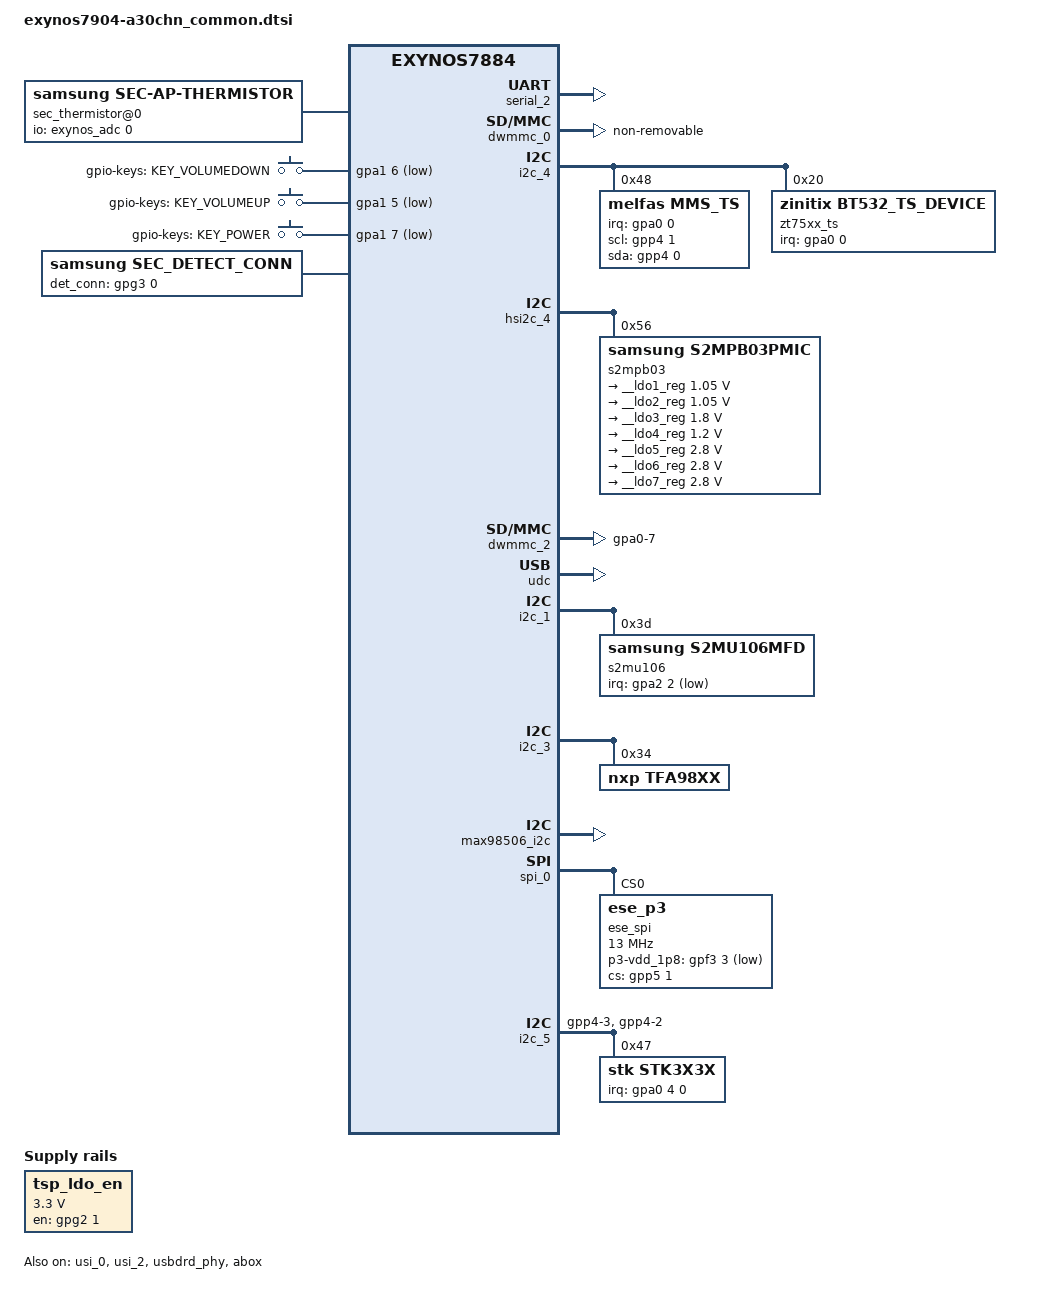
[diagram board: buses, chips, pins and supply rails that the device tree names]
/*
 * SAMSUNG UNIVERSAL7904 board device tree source
 *
 * Copyright (c) 2013 Samsung Electronics Co., Ltd.
 *		http://www.samsung.com
 *
 * This program is free software; you can redistribute it and/or modify
 * it under the terms of the GNU General Public License version 2 as
 * published by the Free Software Foundation.
*/

#include "exynos7884-rmem_7884.dtsi"
#include "display-lcd_a30c_common.dtsi"
#include "modem-s327ap-sipc-pdata.dtsi"
#include "modem-s327ap-sipc-highmem.dtsi"
#include "battery_data_a30chn_common.dtsi"
#include "exynos7885-ecd.dtsi"
#include "exynos7904-a30chn_motor.dtsi"
#include "exynos7904-a30chn_camera.dtsi"
#include <dt-bindings/clock/exynos7885.h>
#include "exynos7904-mali.dtsi"
/ {
	board_id = <0x0>;
	board_rev = <0x0>;

	fragment@model {
		target-path = "/";
		__overlay__ {
			#address-cells = <2>;
			#size-cells = <1>;

			fixed-rate-clocks {
				oscclk {
					compatible = "samsung,exynos7885-oscclk";
					clock-frequency = <26000000>;
				};
			};

			firmware {
				android {
					compatible = "android,firmware";
					vbmeta {
						compatible = "android,vbmeta";
						parts = "vbmeta,boot,recovery,system,vendor,product,dtb,dtbo";
					};
					fstab {
						compatible = "android,fstab";
						vendor {
							compatible = "android,vendor";
							dev = "/dev/block/platform/13500000.dwmmc0/by-name/vendor";
							type = "ext4";
							mnt_flags = "ro";
							fsmgr_flags = "wait,verify,avb";
						};
						product {
							compatible = "android,product";
							dev = "/dev/block/platform/13500000.dwmmc0/by-name/product";
							type = "ext4";
							mnt_flags = "ro";
							fsmgr_flags = "wait,verify,avb";
						};
					};
				};
			};

			but_zones: but_zones {
				#list-but-cells = <3>;
			};

			secgpio_dvs {
				compatible = "samsung,exynos7885-secgpio-dvs";
				status = "okay";
			};

			speedy@11CE0000 {
				#address-cells = <1>;
				#size-cells = <0>;
				status = "okay";
				audio_codec_cod3035x: cod3035x@03 {
					compatible = "codec,cod3035x";
					#sound-dai-cells = <1>;
					reg = <0x03>;
					i2c-speedy-address;
					vdd-supply = <&l36_reg>;
					pinctrl-names = "default";
					mic-bias1-voltage = <1>;
					mic-bias2-voltage = <1>;
					mic-bias-ldo-voltage = <3>;
					use-lassenA;
					use-btn-adc-mode;
					use-det-gdet-adc-mode = <1>;
					jackin-dbnc-time = <0xC0>;
					jackout-dbnc-time = <0x02>;
					jack-imp-tuning = <9>;
					io-channels = <&exynos_adc 3>,<&exynos_adc 7>;
					io-channel-names = "adc-ear","adc-gdet";
					#io-channel-cells = <1>;
					rcv-drv-current = <1>;
					io-channel-ranges;
					but-zones-list = <&but_zones 226 0 376>, /* send/end */
						<&but_zones 582 377 447>, /* google */
						<&but_zones 115 448 627>, /* vol up */
						<&but_zones 114 628 1161>; /* vol down */
					mic-adc-range = <1404>;
					btn-release-value = <1404>;
					use-feature-flag = <0x02>;
					jackin-ldet-vth = <0>;
				};

				s2mpu08mfd@00 {
					compatible = "samsung,s2mpu08mfd";
					acpm-ipc-channel = <2>;
					i2c-speedy-address;
					s2mpu08,wakeup = "enabled";
					s2mpu08,irq-gpio = <&gpa2 0 0>;
					reg = <0x00>;
					interrupts = <2 0 0>;
					interrupt-parent = <&gpa2>;
					pinctrl-names = "default";
					pinctrl-0 = <&pmic_irq &pm_wrsti>;
					/* RTC: wtsr/smpl */
					wtsr_en = "enabled"; /* enable */
					smpl_en = "enabled"; /* enable */
					wtsr_timer_val = <3>;	/* 1000ms */
					smpl_timer_val = <0>;	/* 100ms */
					check_jigon = <0>; /* do not check jigon */
					/* RTC: If it's first boot, reset rtc to 1/1/2019 12:00:00(Tue) */
					init_time,sec = <0>;
					init_time,min = <0>;
					init_time,hour = <12>;
					init_time,mday = <1>;
					init_time,mon = <0>;
					init_time,year = <119>;
					init_time,wday = <2>;

					samsung,codec-interrupt = <&audio_codec_cod3035x>;

					regulators {
						b1_reg: BUCK1 {
							regulator-name = "vdd_mif";
							regulator-min-microvolt = <500000>;
							regulator-max-microvolt = <1100000>;
							regulator-always-on;
							regulator-ramp-delay = <12000>;
							regulator-initial-mode = <2>;
						};

						b2_reg: BUCK2 {
							regulator-name = "vdd_cpucl0";
							regulator-min-microvolt = <500000>;
							regulator-max-microvolt = <1300000>;
							regulator-always-on;
							regulator-ramp-delay = <12000>;
							regulator-initial-mode = <1>;
						};

						b3_reg: BUCK3 {
							regulator-name = "vdd_cpucl1_2";
							regulator-min-microvolt = <500000>;
							regulator-max-microvolt = <1300000>;
							regulator-always-on;
							regulator-ramp-delay = <12000>;
							regulator-initial-mode = <1>;
						};

						b4_reg: BUCK4 {
							regulator-name = "vdd_int";
							regulator-min-microvolt = <500000>;
							regulator-max-microvolt = <1200000>;
							regulator-always-on;
							regulator-ramp-delay = <12000>;
							regulator-initial-mode = <2>;
						};

						b5_reg: BUCK5 {
							regulator-name = "vdd_g3d";
							regulator-min-microvolt = <500000>;
							regulator-max-microvolt = <1300000>;
							regulator-always-on;
							regulator-ramp-delay = <12000>;
							regulator-initial-mode = <1>;
						};

						b6_reg: BUCK6 {
							regulator-name = "vdd2_mem";
							regulator-min-microvolt = <500000>;
							regulator-max-microvolt = <1300000>;
							regulator-always-on;
							regulator-ramp-delay = <12000>;
							regulator-initial-mode = <3>;
						};

						b7_reg: BUCK7 {
							regulator-name = "vdd_lldo";
							regulator-min-microvolt = <1200000>;
							regulator-max-microvolt = <1500000>;
							regulator-always-on;
							regulator-ramp-delay = <12000>;
							regulator-initial-mode = <3>;
						};

						b8_reg: BUCK8 {
							regulator-name = "vdd_mldo";
							regulator-min-microvolt = <1800000>;
							regulator-max-microvolt = <2100000>;
							regulator-always-on;
							regulator-ramp-delay = <12000>;
							regulator-initial-mode = <3>;
						};

						l1_reg: LDO1 {
							regulator-name = "vdd_ldo1";
							regulator-min-microvolt = <700000>;
							regulator-max-microvolt = <1300000>;
							regulator-always-on;
							regulator-ramp-delay = <12000>;
							regulator-initial-mode = <3>;
						};

						l2_reg: LDO2 {
							regulator-name = "vqmmc";
							regulator-min-microvolt = <1800000>;
							regulator-max-microvolt = <3375000>;
							regulator-ramp-delay = <12000>;
						};

						l3_reg: LDO3 {
							regulator-name = "vdd_ldo3";
							regulator-min-microvolt = <800000>;
							regulator-max-microvolt = <1950000>;
							regulator-always-on;
							regulator-ramp-delay = <12000>;
							regulator-initial-mode = <3>;
						};

						l4_reg: LDO4 {
							regulator-name = "vdd_ldo4";
							regulator-min-microvolt = <500000>;
							regulator-max-microvolt = <1300000>;
							regulator-always-on;
							regulator-ramp-delay = <12000>;
							regulator-initial-mode = <1>;
						};

						l5_reg: LDO5 {
							regulator-name = "vdd_ldo5";
							regulator-min-microvolt = <800000>;
							regulator-max-microvolt = <1350000>;
							regulator-always-on;
							regulator-ramp-delay = <12000>;
							regulator-initial-mode = <1>;
						};

						l6_reg: LDO6 {
							regulator-name = "vdd_ldo6";
							regulator-min-microvolt = <800000>;
							regulator-max-microvolt = <1350000>;
							regulator-always-on;
							regulator-ramp-delay = <12000>;
							regulator-initial-mode = <1>;
						};

						l7_reg: LDO7 {
							regulator-name = "vdd_ldo7";
							regulator-min-microvolt = <800000>;
							regulator-max-microvolt = <1950000>;
							regulator-always-on;
							regulator-ramp-delay = <12000>;
							regulator-initial-mode = <1>;
						};

						l8_reg: LDO8 {
							regulator-name = "vdd_ldo8";
							regulator-min-microvolt = <500000>;
							regulator-max-microvolt = <1300000>;
							regulator-always-on;
							regulator-ramp-delay = <12000>;
							regulator-initial-mode = <1>;
						};

						l9_reg: LDO9 {
							regulator-name = "vdd_ldo9";
							regulator-min-microvolt = <500000>;
							regulator-max-microvolt = <1300000>;
							regulator-always-on;
							regulator-ramp-delay = <12000>;
							regulator-initial-mode = <1>;
						};

						l10_reg: LDO10 {
							regulator-name = "vdd_ldo10";
							regulator-min-microvolt = <500000>;
							regulator-max-microvolt = <1300000>;
							regulator-always-on;
							regulator-ramp-delay = <12000>;
							regulator-initial-mode = <1>;
						};

						l11_reg: LDO11 {
							regulator-name = "vdd_ldo11";
							regulator-min-microvolt = <500000>;
							regulator-max-microvolt = <1300000>;
							regulator-always-on;
							regulator-ramp-delay = <12000>;
							regulator-initial-mode = <1>;
						};

						l12_reg: LDO12 {
							regulator-name = "vdd_ldo12";
							regulator-min-microvolt = <800000>;
							regulator-max-microvolt = <1350000>;
							regulator-always-on;
							regulator-ramp-delay = <12000>;
							regulator-initial-mode = <1>;
						};

						l13_reg: LDO13 {
							regulator-name = "vdd_ldo13";
							regulator-min-microvolt = <800000>;
							regulator-max-microvolt = <1950000>;
							regulator-always-on;
							regulator-ramp-delay = <12000>;
							regulator-initial-mode = <1>;
						};

						l14_reg: LDO14 {
							regulator-name = "vdd_ldo14";
							regulator-min-microvolt = <1800000>;
							regulator-max-microvolt = <3375000>;
							regulator-always-on;
							regulator-ramp-delay = <12000>;
							regulator-initial-mode = <1>;
						};

						l33_reg: LDO33 {
							regulator-name = "vdd_ldo33";
							regulator-min-microvolt = <800000>;
							regulator-max-microvolt = <1950000>;
							regulator-always-on;
							regulator-ramp-delay = <12000>;
							regulator-initial-mode = <3>;
						};

						l34_reg: LDO34 {
							regulator-name = "vdd_ldo34";
							regulator-min-microvolt = <1800000>;
							regulator-max-microvolt = <3375000>;
							regulator-always-on;
							regulator-ramp-delay = <12000>;
							regulator-initial-mode = <3>;
						};

						l35_reg: LDO35 {
							regulator-name = "vmmc";
							regulator-min-microvolt = <1800000>;
							regulator-max-microvolt = <3375000>;
							regulator-ramp-delay = <12000>;
						};

						l36_reg: LDO36 {
							regulator-name = "vdd_ldo36";
							regulator-min-microvolt = <800000>;
							regulator-max-microvolt = <1950000>;
							regulator-always-on;
							regulator-ramp-delay = <12000>;
							regulator-initial-mode = <3>;
						};

						l37_reg: LDO37 {
							regulator-name = "vdd_ldo37";
							regulator-min-microvolt = <1800000>;
							regulator-max-microvolt = <3375000>;
							regulator-always-on;
							regulator-ramp-delay = <12000>;
							regulator-initial-mode = <3>;
						};
					};
				};
			};
			sec_thermistor@0 {
				compatible = "samsung,sec-ap-thermistor";
				status = "okay";

				adc_array = <275 324 380 450 528 619 729 856 1003 1161
					1345 1545 1766 1980 2222 2457 2685 2901 3102 3279
					3426 3551 3659>;
				temp_array = <900 850 800 750 700 650 600 550 500 450
					400 350 300 250 200 150 100 50 0 (-50)
					(-100) (-150) (-200)>;

				io-channels = <&exynos_adc 0>;
				io-channel-names = "adc-ap-temp";
				io-channel-ranges;
			};

			exynos_rgt {
				compatible = "samsung,exynos-rgt";
			};

			tsp_ldo_en: tsp-ldo-en {
				compatible = "regulator-fixed";
				regulator-name = "tsp_ldo_en";
				regulator-min-microvolt = <3300000>;
				regulator-max-microvolt = <3300000>;
				gpio = <&gpg2 1 0>;
				enable-active-high;
				regulator-boot-on;
			};

			gpio_keys {
				status = "okay";
				compatible = "gpio-keys";
				#address-cells = <1>;
				#size-cells = <0>;
				pinctrl-names = "default";
				pinctrl-0 = <&key_voldown &key_volup &key_power>;
				button@1 {
					label = "gpio-keys: KEY_VOLUMEDOWN";
					interrupts = <6 0 0>;
					interrupt-parent = <&gpa1>;
					linux,code = <114>;
					gpios = <&gpa1 6 0xf>;
				};
				button@2 {
					label = "gpio-keys: KEY_VOLUMEUP";
					interrupts = <5 0 0>;
					interrupt-parent = <&gpa1>;
					linux,code = <115>;
					gpios = <&gpa1 5 0xf>;
				};
				button@3 {
					label = "gpio-keys: KEY_POWER";
					interrupts = <7 0 0>;
					interrupt-parent = <&gpa1>;
					linux,code = <116>;
					gpios = <&gpa1 7 0xf>;
					gpio-key,wakeup = <1>;
				};

			};

			usb_hs_tune:hs_tune {
				hs_tune_cnt = <12>;

				/* value = <device host> */
				hs_tune1 {
					tune_name = "tx_vref";
					tune_value = <0xd 0xa>;
				};

				hs_tune2 {
					tune_name = "tx_pre_emp";
					tune_value = <0x3 0x3>;
				};

				hs_tune3 {
					tune_name = "tx_pre_emp_plus";
					tune_value = <0x0 0x0>;
				};

				hs_tune4 {
					tune_name = "tx_res";
					tune_value = <0x3 0x3>;
				};

				hs_tune5 {
					tune_name = "tx_rise";
					tune_value = <0x3 0x3>;
				};

				hs_tune6 {
					tune_name = "tx_hsxv";
					tune_value = <0x3 0x3>;
				};

				hs_tune7 {
					tune_name = "tx_fsls";
					tune_value = <0x3 0x3>;
				};

				hs_tune8 {
					tune_name = "rx_sqrx";
					tune_value = <0x7 0x7>;
				};

				hs_tune9 {
					tune_name = "compdis";
					tune_value = <0x7 0x7>;
				};

				hs_tune10 {
					tune_name = "otg";
					tune_value = <0x2 0x2>;
				};

				hs_tune11 {
				/* true : 1, false: 0 */
				/* <enable_user_imp user_imp_value> */
					tune_name = "enable_user_imp";
					tune_value = <0x0 0x0>;
				};

				hs_tune12 {
				/* PHY clk : 1 , FREE clk : 0 */
					tune_name = "is_phyclock";
					tune_value = <0x1 0x1>;
				};
			};

			mailbox_cp: mcu_ipc@12080000 {
				compatible = "samsung,exynos-shd-ipc-mailbox";
				reg = <0x0 0x12080000 0x180>;
				mcu,name = "mcu_ipc_cp";
				mcu,id = <0>;
				interrupts = <0 55 0 >; /* MAILBOX_CP_TO_AP SPI Number */
				mcu,irq_affinity_mask = <3>;
			};

			/* USIM DETECTION FOR CP */
			usim_det {
				pinctrl-names = "default";
				pinctrl-0 = <&sim0_det_gpio>;

				mif,num_of_usim_det = <1>;
				mif,usim-det0-gpio = <&gpa2 6 0>;
			};

			mailbox_gnss: mcu_ipc@120D0000 {
				compatible = "samsung,exynos-shd-ipc-mailbox";
				reg = <0x0 0x120D0000 180>;
				mcu,name = "mcu_ipc_gnss";
				mcu,id = <1>;
				interrupts = <0 56 0>;
			};

			gnss_pdata {
				status = "okay";

				compatible = "samsung,gnss_shdmem_if";
				shmem,name = "KEPLER";
				shmem,device_node_name = "gnss_ipc";

				/* ACTIVE WATCHDOG WAKEUP */
				interrupts = <0 20 0>,
					     <0 165 0>,
					     <0 164 0>;
				interrupt-names = "ACTIVE", "WATCHDOG", "WAKEUP";

				memory-region = <&gnss_reserved>;
				mbox_info = <&mailbox_gnss>;

				mbx,int_ap2gnss_bcmd = <0>;
				mbx,int_ap2gnss_req_fault_info = <1>;
				mbx,int_ap2gnss_ipc_msg = <2>;
				mbx,int_ap2gnss_ack_wake_set = <3>;
				mbx,int_ap2gnss_ack_wake_clr = <4>;

				mbx,irq_gnss2ap_bcmd = <0>;
				mbx,irq_gnss2ap_rsp_fault_info = <1>;
				mbx,irq_gnss2ap_ipc_msg = <2>;
				mbx,irq_gnss2ap_req_wake_clr = <4>;

				mbx,reg_bcmd_ctrl = <0>, <1>, <2>, <3>;

				reg_rx_ipc_msg = <1 5>;
				reg_tx_ipc_msg = <1 4>;
				reg_rx_head = <1 3>;
				reg_rx_tail = <1 2>;
				reg_tx_head = <1 1>;
				reg_tx_tail = <1 0>;
				fault_info = <1 0x200000 0x180000>;

				shmem,ipc_offset = <0x380000>;
				shmem,ipc_size = <0x80000>;
				shmem,ipc_reg_cnt = <32>;

				/* Use the following value when can't boot with mailbox */
				shmem,boot_without_mbox = <1>; /* Default : 0 */
			};

			usb_notifier {
				compatible = "samsung,usb-notifier";
				udc = <&udc>;
			};

			dummy_audio_codec: audio_codec_dummy {
				status = "okay";
				compatible = "snd-soc-dummy";
				#sound-dai-cells = <1>;
			};

			sound {
				status = "okay";
				compatible = "samsung,exynos7885-cod3035";
				mic-bias-mode = <1 1 2 0>;
				clock-names = "xclkout";
				samsung,codec = <&abox>;

				samsung,routing =  "VOUTPUT", "ABOX UAIF0 Playback",
						 "VOUTPUTCALL", "ABOX UAIF2 Playback",
						 "ABOX UAIF2 Capture", "VINPUTCALL",
						 "ABOX SPEEDY Capture", "VINPUTFM",
						 // "SPK", "ABOX UAIF3 Playback",
						 // "ABOX UAIF3 Capture", "VI";
						 "SPK", "AIF Playback-b-34",
						 "AIF Playback-b-34", "ABOX UAIF3 Playback",
						 "ABOX UAIF3 Capture", "AIF Capture-b-34";


				rdma@0 {
					cpu {
						sound-dai = <&abox 0>;
					};
					codec {
						sound-dai = <&dummy_audio_codec>;
					};
				};
				rdma@1 {
					cpu {
						sound-dai = <&abox 1>;
					};
					codec {
						sound-dai = <&dummy_audio_codec>;
					};
				};
				rdma@2 {
					cpu {
						sound-dai = <&abox 2>;
					};
					codec {
						sound-dai = <&dummy_audio_codec>;
					};
				};
				rdma@3 {
					cpu {
						sound-dai = <&abox 3>;
					};
					codec {
						sound-dai = <&dummy_audio_codec>;
					};
				};
				rdma@4 {
					cpu {
						sound-dai = <&abox 4>;
					};
					codec {
						sound-dai = <&dummy_audio_codec>;
					};
				};
				rdma@5 {
					cpu {
						sound-dai = <&abox 5>;
					};
					codec {
						sound-dai = <&dummy_audio_codec>;
					};
				};
				rdma@6 {
					cpu {
						sound-dai = <&abox 6>;
					};
					codec {
						sound-dai = <&dummy_audio_codec>;
					};
				};
				rdma@7 {
					cpu {
						sound-dai = <&abox 7>;
					};
					codec {
						sound-dai = <&dummy_audio_codec>;
					};
				};
				wdma@0 {
					cpu {
						sound-dai = <&abox 8>;
					};
					codec {
						sound-dai = <&dummy_audio_codec>;
					};
				};
				wdma@1 {
					cpu {
						sound-dai = <&abox 9>;
					};
					codec {
						sound-dai = <&dummy_audio_codec>;
					};
				};
				wdma@2 {
					cpu {
						sound-dai = <&abox 10>;
					};
					codec {
						sound-dai = <&dummy_audio_codec>;
					};
				};
				wdma@3 {
					cpu {
						sound-dai = <&abox 11>;
					};
					codec {
						sound-dai = <&dummy_audio_codec>;
					};
				};
				wdma@4 {
					cpu {
						sound-dai = <&abox 12>;
					};
					codec {
						sound-dai = <&dummy_audio_codec>;
					};
				};
				uaif@0 {
					cpu {
						sound-dai = <&abox 13>;
					};
					codec {
						sound-dai = <&audio_codec_cod3035x 0>;
					};
				};
				uaif@1 {
					cpu {
						sound-dai = <&abox 14>;
					};
					codec {
						sound-dai = <&dummy_audio_codec>;
					};
				};
				uaif@2 {
					cpu {
						sound-dai = <&abox 15>;
					};
					codec {
						sound-dai = <&dummy_audio_codec>;
					};
				};
				uaif@3 {
					cpu {
						sound-dai = <&abox 16>;
					};
					codec {
						sound-dai = <&tfa98xx 0>;
					};
				};
				internal@0 {
					cpu {
						sound-dai = <&abox 17>;
					};
					codec {
						sound-dai = <&dummy_audio_codec>;
					};
				};
				speedy@0 {
					cpu {
						sound-dai = <&abox 18>;
					};
					codec {
						sound-dai = <&dummy_audio_codec>;
					};
				};
			};

			fm@14840000 {
				num-trfon-freq = <56>;
				val-trfon-freq = <87500 87600 88300 88400 89000 89100 89800 89900
					90600 90700 91300 91400 92100 92200 92900 93000 93600 93700
					94400 94500 95200 95300 96700 96800 97500 97600 98300 98400 99000 99800 99900 99100
					100000 100600 100700 101300 101400 101500 101600 102100 102200 102900 103000 103600
					103700 104000 104400 104500 105200 105300 105900 106000 106700 106800 107500 107600 >;
				spur-trfon-freq = <1536>;
				num-volume-level = <16>;
				val-vol-level = <0 13 20 27 39 55 78 111 157 221 313 443 627 886 1253 2047>;
			};
			cpufreq {
				domain@1 {
					max-freq = <1768000>;

					dm-constraints {
						mif-perf {
							table = < 1768000 1794000
								  1664000 1539000
								  1560000 1539000
								  1352000 1352000
								  1144000 1014000
								   936000  546000
								   728000  420000>;
						};
					};
				};
			};

			cpufreq-ufc {
				/* Ctrl Type */
				#define PM_QOS_MIN_LIMIT		0
				#define PM_QOS_MIN_WO_BOOST_LIMIT	1
				#define PM_QOS_MAX_LIMIT		2
				/* Execution Mode */
				#define AARCH64_MODE			0
				#define AARCH32_MODE			1

				domain@0 {
					device_type = "cpufreq-userctrl";
					shared-cpus = "0-5";

					user-default-qos = <839000>;
				};

				domain@1 {
					device_type = "cpufreq-userctrl";
					shared-cpus = "6-7";

					user-default-qos = <936000>;

					min-limit {
						ctrl-type = <PM_QOS_MIN_LIMIT>;
						execution-mode = <AARCH64_MODE>;
							/* big	    lit */
						table = < 1768000  1586000
							  1664000  839000
							  1560000  839000
							  1352000  839000
							  1144000  839000
							   936000  839000
							   728000  839000 >;
					};

					max-limit {
						ctrl-type = <PM_QOS_MAX_LIMIT>;
						execution-mode = <AARCH64_MODE>;
							/* big	    lit */
						table = < 1768000 1586000
							  1664000 1586000
							  1560000 1586000
							  1352000 1586000
							  1144000 1352000
							   936000 1248000
							   728000 1248000 >;
					};
				};
			};

			flip_cover {
				status = "okay";
				compatible = "flip_cover";
				pinctrl-names = "default";
				pinctrl-0 = <&hall_irq &certify_hall_irq>;
				hall {
					name = "hall";
					event = <0x15>;
					gpios = <&gpa0 2 0>;
				};
				certify_hall {
					name = "certify_hall";
					event = <0x1b>;
					gpios = <&gpa1 4 0xf>;
				};
			};

			muic {
				new_factory;
				dcd_timeout;
			};

			fpcb_type {
				status = "enabled";
				compatible = "fpcb_type";
				pinctrl-names = "default";
				pinctrl-0 = <&pcb_det>;
				gpios = <&gpa0 6 0>;
			};

 			sec_detect_conn {
        			compatible = "samsung,sec_detect_conn";
       				sec,det_conn_gpios = <&gpg3 0 0>;         /* UB_DET */
        			sec,det_conn_name = "UB_CONNECT";
        			sec,det_conn_irq_type = <3>; /* UB_DETECT BOTH EDGE*/
        			pinctrl-names = "default";
        			pinctrl-0 = <&ub_detect_conn_setting>;
    			};

			argos {
				compatible = "samsung,argos";
				#address-cells = <1>;
				/*  The device number should be assigned for each device, e.g. "boot_device@1" and "boot_device@2".
				 * Duplicated number is not allowed. Please refer the below example.
				 */

				/* Table Format should be
				 * <Throughput(Mbps) ARM_min ARM_max KFC_min KFC_max MIF INT Task IRQ HMP_boost>
				 * ARM_min : Big Core's minimum frequency lock. 0 means not set,
				 * ARM_max : Big Core's maximum frequency lock. 0 means not set,
				 * KFC_min : Little Core's minimum frequency lock. 0 means not set,
				 * KFC_max : Little Core's maximum frequency lock. 0 means not set,
				 * MIF : MIF frequency lock. 0 means not set,
				 * INT : INT frequency lock. 0 means not set,
				 * Task : 1 - Set task affinity lock.
				 *	0 - Not set or unlock,
				 *		Task affinity should be predefined driver's code.
				 * IRQ : 1 - Set irq affinity lock.
				 *       0 - Not set or unlock,
				 *		Task affinity should be predefined driver's code.
				 * HMP_boots : 1 - Increase hmp boosting count
				 *             0 - Decrease hmp boosting count
				 */

				boot_device@1 {
					net_boost,label="IPC";
					net_boost,node="rmnet0 rmnet1 rmnet2 rmnet3 rmnet4 rmnet5 rmnet6 rmnet7 umts_dm0";
					net_boost,table_size = <4>;
					net_boost,table= <
						1   0 0 0 0 0 0 0 1 0
						50  0 0 1170000 0 1144000 0 0 1 0
						100 0 0 1378000 0 1539000 0 0 1 0
						150 0 0 1586000 0 1794000 0 0 1 0
						>;
				};

				boot_device@2 {
					net_boost,label="CLAT";
					net_boost,node="clat clat4 v4-rmnet0 v4-rmnet1 v4-rmnet2 v4-rmnet3 v4-rmnet4 v4-rmnet5 v4-rmnet6 v4-rmnet7";
					net_boost,table_size = <3>;
					net_boost,table= <
						20  0 0 1170000 0 1539000 0 0 0 0
						50  0 0 1378000 0 1539000 0 0 0 0
						100 0 0 1586000 0 1794000 0 0 0 0
						>;
				};

				boot_device@3 {
				 net_boost,label="WIFI TX";
				 net_boost,node="wlan0";
				 net_boost,table_size = <2>;
				 net_boost,table= <
					60 1144000 0 676000 0 0 0 0 0 0
					120 1560000 0 1586000 0 0 267000 0 0 0
					>;
				 };

				 boot_device@4 {
				 net_boost,label="WIFI RX";
				 net_boost,node="wlan0";
				 net_boost,table_size = <1>;
				 net_boost,table= <
					250 1352000 0 1352000 0 0 0 0 0 0
					>;
				 };

				 boot_device@5 {
				 net_boost,label="USB";
				 net_boost,node="rndis0";
				 net_boost,table_size = <1>;
				 net_boost,table= < 0 0 0 0 0 0 0 0 1 0 >;
				 };
			};
		};
	};
};

/* USI MODE SETTINGS

usi_mode = "hsi2c0" or "hsi2c1" or "spi" or "uart"
    or "hsi2c0_hsi2c1" or "uart_hsi2c1"
*/
&usi_0 {
	usi_mode = "hsi2c0";
	status = "okay";
};

&usi_2 {
	usi_mode = "hsi2c0";
	status = "okay";
};

&serial_2 {
	samsung,uart-logging;
	status = "okay";
};

&dwmmc_0 {
	status = "okay";
	num-slots = <1>;
	broken-cd;
	fixed_voltage;
	supports-highspeed;
	mmc-ddr-1_8v;
	mmc-hs200-1_8v;
	mmc-hs400-1_8v;
	supports-8bit;
	supports-cmd23;
	supports-erase;
	supports-hs400-enhanced-strobe;
	card-init-hwacg-ctrl;
	support-cmdq;
	qos-dvfs-level = <100000>;
	fifo-depth = <0x40>;
	non-removable;
	desc-size = <4>;
	card-detect-delay = <200>;
	device_drv = <4>;
	samsung,dw-mshc-ciu-div = <3>;
	samsung,dw-mshc-txdt-crc-timer-fastlimit = <0x13>;
	samsung,dw-mshc-txdt-crc-timer-initval = <0x15>;
	samsung,dw-mshc-hs400-delay-line = <0x60>;
	samsung,dw-mshc-sdr-timing = <3 0 4 0>;
	samsung,dw-mshc-ddr-timing = <3 0 4 2>;
	samsung,dw-mshc-hs200-timing = <3 0 3 0>;
	samsung,dw-mshc-hs400-timing = <1 0 2 0>;
	samsung,dw-mshc-hs400-ulp-timing = <3 0 2 0>;

	num-ref-clks = <12>;
	ciu_clkin = <25 50 50 25 50 100 200 50 50 200 200 200>;

	/* Swapping clock drive strength */
	clk-drive-number = <4>;
	pinctrl-names = "default",
		"fast-slew-rate-1x",
		"fast-slew-rate-2x",
		"fast-slew-rate-3x",
		"fast-slew-rate-4x";
	pinctrl-0 = <&sd0_clk &sd0_cmd &sd0_rdqs &sd0_bus1 &sd0_bus4 &sd0_bus8>;
	pinctrl-1 = <&sd0_clk_fast_slew_rate_1x>;
	pinctrl-2 = <&sd0_clk_fast_slew_rate_2x>;
	pinctrl-3 = <&sd0_clk_fast_slew_rate_3x>;
	pinctrl-4 = <&sd0_clk_fast_slew_rate_4x>;
	#address-cells = <1>;
	#size-cells = <0>;
	slot@0 {
		reg = <0>;
		bus-width = <8>;
	};

};

&dwmmc_1 {
	status = "disabled";
	num-slots = <1>;
	channel = <1>;
	fixed_voltage;
	enable-cclk-on-suspend;
	caps-control;
	supports-highspeed;
	supports-4bit;
	keep-power-in-suspend;
	pm-ignore-notify;
	card-detect-type-external;
	use-broken-voltage;
	ignore-phase = <(1 << 7)>;
	fifo-depth = <0x40>;
	card-detect-delay = <200>;
	qos-dvfs-level = <100000>;
	data-timeout = <200>;
	hto-timeout = <80>;
	samsung,dw-mshc-ciu-div = <3>;
	samsung,dw-mshc-sdr-timing = <3 0 2 0>;
	samsung,dw-mshc-ddr-timing = <3 0 2 1>;
	samsung,dw-mshc-sdr50-timing = <3 0 4 2>;
	samsung,dw-mshc-sdr104-timing = <3 0 3 0>;

	num-ref-clks = <9>;
	ciu_clkin = <25 50 50 25 50 100 200 50 50>;

	clk-drive-number = <4>;
	pinctrl-names = "default",
		"fast-slew-rate-1x",
		"fast-slew-rate-2x",
		"fast-slew-rate-3x",
		"fast-slew-rate-4x";
	pinctrl-0 = <&sd1_clk &sd1_cmd &sd1_bus1 &sd1_bus4>;
	pinctrl-1 = <&sd1_clk_fast_slew_rate_1x>;
	pinctrl-2 = <&sd1_clk_fast_slew_rate_2x>;
	pinctrl-3 = <&sd1_clk_fast_slew_rate_3x>;
	pinctrl-4 = <&sd1_clk_fast_slew_rate_4x>;
	#address-cells = <1>;
	#size-cells = <0>;
	slot@0 {
		reg = <0>;
		bus-width = <4>;
	};
};

&i2c_4 {
	status = "okay";
	samsung,i2c-sda-delay = <100>;
	samsung,i2c-max-bus-freq = <400000>;
	mms_ts@48 {
		status = "okay";
		compatible = "melfas,mms_ts";
		reg = <0x48>;
		pinctrl-names = "on_state", "off_state";
		pinctrl-0 = <&attn_irq>;
		pinctrl-1 = <&attn_input>;
		melfas,vdd_en = "tsp_ldo_en";
		/*melfas,io_en = "tsp_io";*/
		melfas,irq-gpio = <&gpa0 0 0>;
		melfas,scl-gpio = <&gpp4 1 0>;
		melfas,sda-gpio = <&gpp4 0 0>;
		melfas,area-size = <133 266 341>; /* indicator: 24dp navigator:48dp edge:60px TSP resolution is 4095 x 4095 */
		melfas,max_x_y = <4095 4095>;	/* x & y */
		melfas,node_info = <15 32 0>;	/* x & y & key */
		melfas,event_info = <8 12>;		/* event format & event size */
		melfas,support_lpm = "true";
		melfas,fw_name = "tsp_melfas/mss100_m30.fw";
		melfas,fw_name_old = "tsp_melfas/mss100_m30_old.fw";
		melfas,project_name = "M305";
		support_ear_detect_mode;
		enable_settings_aot;
		melfas,factory_item_version = <1>;
		melfas,bringup = <1>;
	};

	zt75xx_ts@20 {
		status = "okay";
		compatible = "zinitix,bt532_ts_device";
		reg = <0x20>;
		pinctrl-names = "on_state", "off_state";
		pinctrl-0 = <&attn_irq>;
		pinctrl-1 = <&attn_input>;
		zinitix,irq_gpio = <&gpa0 0 0>;
		zinitix,gpio_ldo_en;
		zinitix,regulator_avdd = "tsp_ldo_en";
		zinitix,x_resolution = <720>;
		zinitix,y_resolution = <1560>;
		zinitix,page_size = <128>;
		zinitix,chip_name = "ZT7548";
		zinitix,firmware_name = "tsp_zinitix/zt7548_a40s.fw";
		/* zinitix,spay = "true"; */
		/* zinitix,aod = "true"; */
		zinitix,tclm_level = <0x02>;
		zinitix,afe_base = <0x9203>;
		zinitix,mis_cal_check;
		zinitix,factory_item_version = <6>;
		support_ear_detect_mode;
		zinitix,aot = "true";
	};
};

&hsi2c_4 {
	status = "okay";
	#address-cells = <1>;
	#size-cells = <0>;
	s2mpb03@56 {
		compatible = "samsung,s2mpb03pmic";
		reg = <0x56>;

		s2mpb03,wakeup;

		regulators {
			__ldo1_reg: s2mpb03-ldo1 {
				regulator-name = "FCAM_DVDD_1P05";
				regulator-min-microvolt = <1050000>;
				regulator-max-microvolt = <1050000>;
			};

			__ldo2_reg: s2mpb03-ldo2 {
				regulator-name = "RCAM1_DVDD_1P05";
				regulator-min-microvolt = <1050000>;
				regulator-max-microvolt = <1050000>;
			};

			__ldo3_reg: s2mpb03-ldo3 {
				regulator-name = "CAM_VDDIO_1P8";
				regulator-min-microvolt = <1800000>;
				regulator-max-microvolt = <1800000>;
			};

			__ldo4_reg: s2mpb03-ldo4 {
				regulator-name = "RCAM2_DVDD_1P2";
				regulator-min-microvolt = <1200000>;
				regulator-max-microvolt = <1200000>;
			};

			__ldo5_reg: s2mpb03-ldo5 {
				regulator-name = "FCAM_AVDD_2P8";
				regulator-min-microvolt = <2800000>;
				regulator-max-microvolt = <2800000>;
			};

			__ldo6_reg: s2mpb03-ldo6 {
				regulator-name = "RCAM1_AVDD_2P8";
				regulator-min-microvolt = <2800000>;
				regulator-max-microvolt = <2800000>;
			};

			__ldo7_reg: s2mpb03-ldo7 {
				regulator-name = "RCAM2_AVDD_2P8";
				regulator-min-microvolt = <2800000>;
				regulator-max-microvolt = <2800000>;
			};
		};
	};
};

&dwmmc_2 {
	status = "okay";
	num-slots = <1>;
	supports-4bit;
	card-detect-invert;
	supports-cmd23;
	supports-erase;
	supports-highspeed;
	sd-uhs-sdr50;
	sd-uhs-sdr104;
	card-detect-gpio;
	card-no-pre-powerup;
	bypass-for-allpass;
	card-init-hwacg-ctrl;
	skip-init-mmc-scan;
	qos-dvfs-level = <100000>;
	qos-sd3-dvfs-level = <267000>;
	fifo-depth = <0x40>;
	desc-size = <4>;
	card-detect-delay = <200>;
	data-timeout = <200>;
	hto-timeout = <80>;
	samsung,dw-mshc-ciu-div = <3>;
	clock-frequency = <800000000>;
	samsung,dw-mshc-sdr-timing = <3 0 2 0>;
	samsung,dw-mshc-ddr-timing = <3 0 2 1>;
	samsung,dw-mshc-sdr50-timing = <3 0 4 2>;
	samsung,dw-mshc-sdr104-timing = <3 0 3 0>;

	num-ref-clks = <9>;
	ciu_clkin = <25 50 50 25 50 100 200 50 50>;

	/* Swapping clock drive strength */
	clk-drive-number = <4>;
	pinctrl-names = "default",
		"fast-slew-rate-1x",
		"fast-slew-rate-2x",
		"fast-slew-rate-3x",
		"fast-slew-rate-4x";
	pinctrl-0 = <&sd2_clk &sd2_cmd &sd2_bus1 &sd2_bus4 &dwmmc2_cd_ext_irq>;
	pinctrl-1 = <&sd2_clk_fast_slew_rate_1x>;
	pinctrl-2 = <&sd2_clk_fast_slew_rate_2x>;
	pinctrl-3 = <&sd2_clk_fast_slew_rate_3x>;
	pinctrl-4 = <&sd2_clk_fast_slew_rate_4x>;

	card-detect = <&gpa0 7 0xf>;
	#address-cells = <1>;
	#size-cells = <0>;
	sec-sd-slot-type = <2>; /* Hybrid Tray SD slot */
	slot@0 {
		reg = <0>;
		bus-width = <4>;
		disable-wp;
	};

};

&udc {
	status = "okay";
	dwc3 {
		dr_mode = "otg";
		maximum-speed = "high-speed";
		snps,quirk-frame-length-adjustment = <0x20>;
	};
};

&usbdrd_phy {
	status = "okay";

	hs_tune_param = <&usb_hs_tune>;
};

&i2c_1 {
	#address-cells = <1>;
	#size-cells = <0>;
	status = "okay";
	samsung,i2c-max-bus-freq = <400000>;
	s2mu106@3D {
		status = "okay";
		compatible = "samsung,s2mu106mfd";
		reg = <0x3D>;
		pinctrl-names = "default";
		pinctrl-0 = <&if_pmic_irq>;
		s2mu106,irq-gpio = <&gpa2 2 1>;
		s2mu106,wakeup;
	};
};

&abox_gic {
	status = "okay";
};

&i2c_3 {
	status = "okay";
	#address-cells = <1>;
	#size-cells = <0>;
	samsung,i2c-max-bus-freq = <400000>;
	tfa98xx: tfa98xx@34 {
		compatible = "nxp,tfa98xx";
		#sound-dai-cells = <1>;
		reg = <0x34>;
	};
};

&abox {
	status = "okay";
		/delete-property/ pinctrl-0;
		/delete-property/ pinctrl-1;

		pinctrl-0 = <&aud_codec_mclk &aud_codec_bus &aud_fm_bus &aud_spk_bus &aud_loopback_bus>;
		pinctrl-1 = <&aud_codec_mclk_idle &aud_codec_bus_idle &aud_fm_bus_idle &aud_spk_bus_idle &aud_loopback_bus_idle>;

		/*vss=1: vss enable, vss=0: vss disable*/
		samsung,abox-bootargs = "init=ab0x vss=1";
		samsung,abox-bootargs-offset = <0x22E00>;

		ext_bin_0: ext_bin@0 {
			status = "disabled";
		};
};

&pinctrl_0 { //11CB0000
	pmic_irq: pmic-irq {
		samsung,pins = "gpa2-0";
		samsung,pin-pud = <3>;
		samsung,pin-drv = <3>;
	};

	hall_irq: hall-irq {
		samsung,pins = "gpa0-2";
		samsung,pin-function = <0xf>;
		samsung,pin-pud = <0>;
		samsung,pin-drv = <0>;
	};

	certify_hall_irq: certify-hall-irq {
			samsung,pins = "gpa1-4";
			samsung,pin-function = <0xf>;
			samsung,pin-pud = <0>;
			samsung,pin-drv = <0>;
	};

	dwmmc2_cd_ext_irq: dwmmc2_cd_ext_irq {
		samsung,pins = "gpa0-7";
		samsung,pin-function = <0xf>;
		samsung,pin-pud = <0>;
		samsung,pin-drv = <3>;
	};

	attn_irq: attn-irq {
		samsung,pins = "gpa0-0";
		samsung,pin-function = <0xf>;
		samsung,pin-pud = <0>;
		samsung,pin-drv = <0>;
	};

	attn_input: attn-input {
		samsung,pins = "gpa0-0";
		samsung,pin-function = <0>;
		samsung,pin-pud = <0>;
	};

	key_power: key-power {
		samsung,pins = "gpa1-7";
		samsung,pin-function = <0xf>;
		samsung,pin-pud = <0>;
		samsung,pin-drv = <0>;
	};

	key_voldown: key-voldown {
		samsung,pins = "gpa1-6";
		samsung,pin-function = <0xf>;
		samsung,pin-pud = <0>;
		samsung,pin-drv = <0>;
	};

	key_volup: key-volup {
		samsung,pins = "gpa1-5";
		samsung,pin-function = <0xf>;
		samsung,pin-pud = <0>;
		samsung,pin-drv = <0>;
	};

	max98506_ctrl: max98506-ctl {
		samsung,pins ="gpa2-1";
		samsung,pin-function = <0>;
		samsung,pin-pud = <0>;
		samsung,pin-con-pdn =<2>;
		samsung,pin-pud-pdn = <0>;
	};
	acc_int: acc-int {
		samsung,pins = "gpa0-3";
		samsung,pin-function = <0xf>;
		samsung,pin-pud = <0>;
		samsung,pin-drv = <0>;
	};
	grip_int: grip-int {
		samsung,pins = "gpa0-6";
		samsung,pin-function = <0xf>;
		samsung,pin-pud = <0>;
		samsung,pin-drv = <0>;
	};
 	grip_input: grip-input {
 		samsung,pins = "gpa0-6";
		samsung,pin-function = <0>;
		samsung,pin-pud = <0>;
 		samsung,pin-drv = <0>;
 	};
 	proxy_int: proxy-int {
		samsung,pins = "gpa0-4";
		samsung,pin-function = <0xf>;
		samsung,pin-pud = <0>;
		samsung,pin-drv = <0>;
	};
	pcb_det: pcb-det {
		samsung,pins = "gpa0-6";
		samsung,pin-function = <0>;
		samsung,pin-pud = <0>;
		samsung,pin-drv = <0>;
	};
};

&pinctrl_1 { //148F0000
	aud_fm_bus: aud-fm-bus {
		samsung,pins = "gpb1-1", "gpb1-2", "gpb1-3";
		samsung,pin-function = <0>;
		samsung,pin-pud = <1>;
	};
};

&pinctrl_3 { //139B0000
	/* Warm reset information from AP */
	pm_wrsti: pm-wrsti {
		samsung,pins = "gpg1-1";
		samsung,pin-con-pdn = <3>;
	};

	max98506_i2c: max98506-i2c {
		samsung,pins = "gpp3-0", "gpp3-1";
		samsung,pin-pud = <0>;
		status = "okay";
	};

	grip_i2c: grip-2c {
		samsung,pins = "gpp7-1", "gpp7-0";
		samsung,pin-function = <2>;
		samsung,pin-pud = <0>;
		samsung,pin-drv = <0>;
	};
	grip_gpio: grip-gpio {
		samsung,pins = "gpp7-1", "gpp7-0";
		samsung,pin-function = <0>;
		samsung,pin-pud = <0>;
		samsung,pin-drv = <0>;
	};

	grip_ldo: grip-ldo {
		samsung,pins = "gpg1-6";
		samsung,pin-function = <1>;
		samsung,pin-pud = <0>;
		samsung,pin-val = <1>;
		samsung,pin-drv = <0>;
	};


 	i2c5_bus: i2c5-bus {
		samsung,pins = "gpp4-3", "gpp4-2";
		samsung,pin-function = <2>;
		samsung,pin-pud = <0>;
		samsung,pin-drv = <0>;
	};

 	i2c6_bus: i2c6-bus {
		samsung,pins = "gpp4-5", "gpp4-4";
		samsung,pin-function = <2>;
		samsung,pin-pud = <0>;
		samsung,pin-drv = <0>;
 	};

	spi0_bus_ese: spi0-bus-ese {
		samsung,pins = "gpp5-3", "gpp5-2", "gpp5-0";
		samsung,pin-function = <2>;
		samsung,pin-pud = <0>;
		samsung,pin-drv = <0>;
	};

	spi0_ese_cs_gpio: spi0-ese-cs-gpio {
		samsung,pins = "gpp5-1";
		samsung,pin-function = <1>;
		samsung,pin-pud = <0>;
		samsung,pin-drv = <0>;
	};

	spi0_bus_ese_suspend: spi0-bus-ese-suspend {
		samsung,pins = "gpp5-3", "gpp5-2", "gpp5-1", "gpp5-0";
		samsung,pin-function = <0>;
		samsung,pin-pud = <1>;
		samsung,pin-drv = <0>;
	};

 	ub_detect_conn_setting: ub_detect_conn_setting {
          	  samsung,pins = "gpg3-0";
            	samsung,pin-function = <0xf>;
           	 samsung,pin-pud = <0>;
          	  samsung,pin-drv = <0>;
        };
};

&spi_0{
	status = "okay";
	/delete-property/ pinctrl-names;
	/delete-property/ pinctrl-0;

	ese_spi@0 {
		compatible = "ese_p3";
		reg = <0>;
		spi-max-frequency = <13000000>;
		gpio-controller;
		#gpio-cells = <2>;

		p3-vdd_1p8-gpio = <&gpf3 3 1>;
		ese_p3,cs-gpio = <&gpp5 1 0>;

		clocks = <&clock GATE_SPI0>, <&clock SPI_0>;
		clock-names = "pclk", "sclk";

		pinctrl-names = "ese_active", "ese_suspend";
		pinctrl-0 = <&spi0_bus_ese &spi0_ese_cs_gpio>;
		pinctrl-1 = <&spi0_bus_ese_suspend>;

		controller-data {
			samsung,spi-feedback-delay = <0>;
			samsung,spi-chip-select-mode = <0>;
		};
	};
};

&i2c_5 {
  	        status = "okay";

 		#address-cells = <1>;
 		#size-cells = <0>;
 		samsung,i2c-sda-delay = <100>;
 		samsung,i2c-max-bus-freq = <400000>;
 		pinctrl-names = "default";
 		pinctrl-0 = <&i2c5_bus>;

 		stk@47 {
			compatible = "stk,stk3x3x";
			reg = <0x47>;
			pinctrl-names = "default";
			pinctrl-0 = <&proxy_int>;
			interrupt-parent = <&gpa0>;
			interrupts = <4 0 0>;
			stk,gpio_int = <&gpa0 4 0>;
			stk,prox_thd_h = <150>;
			stk,prox_thd_l = <140>;
			stk,sunlight_thd_h = <240>;
			stk,sunlight_thd_l = <220>;
			stk,first_cal_adc_limit = <200>;
			stk,first_cal_thd_h = <240>;
			stk,first_cal_thd_l = <220>;
			stk,intel_prst = <0>;
			stk,ps_it = <0x04>;
		};
};

